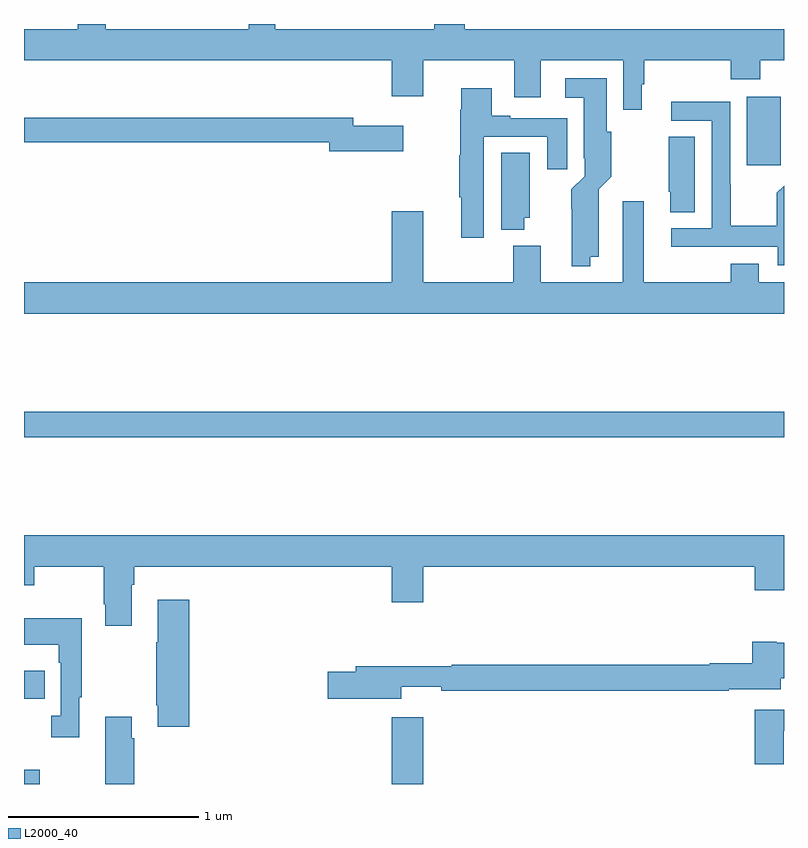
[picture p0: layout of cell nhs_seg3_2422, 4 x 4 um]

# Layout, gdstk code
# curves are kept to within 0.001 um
import gdstk
lib = gdstk.Library(unit=1e-6, precision=1e-09)
def R(c, l, rs):  # rectangles x0, y0, x1, y1
    for r in rs: c.add(gdstk.rectangle(r[:2], r[2:], *l))
def P(c, l, *ps):  # polygons
    for p in ps: c.add(gdstk.Polygon(p, *l))
L2000_40 = (2000, 40)

nhs_seg3_2422 = lib.new_cell('nhs_seg3_2422')
R(nhs_seg3_2422, L2000_40, [(235,738.4,235.083,738.475), (236.936,738.4,237.1,738.751), (235,738.85,235.109,738.997), (235,740.224,239,740.36), (238.805,741.657,238.984,742.018)])
P(nhs_seg3_2422, L2000_40, [(238.252,742.084),(238.264,742.084),(238.264,742.208),(238.72,742.208),(238.72,742.109),(238.875,742.109),(238.875,742.208),(239,742.208),(239,742.372),(237.32,742.372),(237.32,742.4),(237.16,742.4),(237.16,742.372),(236.323,742.372),(236.323,742.4),(236.183,742.4),(236.183,742.372),(235.429,742.372),(235.429,742.4),(235.282,742.4),(235.282,742.372),(235,742.372),(235,742.208),(236.936,742.208),(236.936,742.02),(237.1,742.02),(237.1,742.208),(237.581,742.208),(237.581,742.014),(237.721,742.014),(237.721,742.208),(238.155,742.208),(238.155,741.948),(238.252,741.948)],
  [(237.979,741.176),(238.024,741.176),(238.025,741.53),(238.092,741.597),(238.092,741.834),(238.066,741.834),(238.066,742.114),(237.849,742.114),(237.849,742.013),(237.947,742.013),(237.947,741.694),(237.951,741.694),(237.951,741.6),(237.881,741.53),(237.882,741.125),(237.979,741.125)],
  [(237.421,741.807),(237.755,741.807),(237.755,741.636),(237.859,741.636),(237.859,741.903),(237.559,741.903),(237.559,741.916),(237.463,741.916),(237.463,742.063),(237.302,742.063),(237.302,741.95),(237.295,741.95),(237.295,741.71),(237.29,741.71),(237.29,741.488),(237.302,741.488),(237.302,741.276),(237.421,741.276)],
  [(239,741.548),(238.963,741.511),(238.963,741.337),(238.719,741.337),(238.719,741.56),(238.716,741.56),(238.716,741.99),(238.407,741.99),(238.407,741.891),(238.62,741.891),(238.62,741.324),(238.407,741.324),(238.407,741.228),(238.968,741.228),(238.968,741.131),(239,741.131)],
  [(236.995,741.865),(236.734,741.865),(236.734,741.907),(235,741.907),(235,741.778),(236.606,741.778),(236.606,741.731),(236.995,741.731)],
  [(238.531,741.806),(238.393,741.806),(238.393,741.517),(238.4,741.517),(238.4,741.409),(238.531,741.409)],
  [(237.634,741.381),(237.661,741.381),(237.661,741.722),(237.512,741.722),(237.512,741.317),(237.634,741.317)],
  [(239,741.04),(238.867,741.04),(238.867,741.139),(238.72,741.139),(238.72,741.04),(238.261,741.04),(238.261,741.466),(238.151,741.466),(238.151,741.04),(237.721,741.04),(237.721,741.232),(237.574,741.232),(237.574,741.04),(237.1,741.04),(237.1,741.415),(236.936,741.415),(236.936,741.04),(235,741.04),(235,740.876),(239,740.876)],
  [(235.567,739.448),(235.58,739.448),(235.58,739.544),(236.936,739.544),(236.936,739.356),(237.1,739.356),(237.1,739.544),(238.847,739.544),(238.847,739.42),(239,739.42),(239,739.708),(235,739.708),(235,739.445),(235.053,739.445),(235.053,739.544),(235.42,739.544),(235.42,739.345),(235.427,739.345),(235.427,739.233),(235.567,739.233)],
  [(235.871,739.369),(235.703,739.369),(235.703,739.145),(235.696,739.145),(235.696,738.814),(235.703,738.814),(235.703,738.702),(235.871,738.702)],
  [(235.291,738.857),(235.303,738.857),(235.303,739.273),(235,739.273),(235,739.133),(235.182,739.133),(235.182,739.037),(235.194,739.037),(235.194,738.758),(235.143,738.758),(235.143,738.645),(235.291,738.645)],
  [(236.986,738.911),(237.196,738.911),(237.196,738.892),(238.708,738.892),(238.708,738.899),(238.984,738.899),(238.984,738.956),(239,738.956),(239,739.144),(238.962,739.144),(238.962,739.15),(238.832,739.15),(238.832,739.036),(238.608,739.036),(238.608,739.028),(237.251,739.028),(237.251,739.021),(236.747,739.021),(236.747,738.992),(236.598,738.992),(236.598,738.85),(236.986,738.85)],
  [(238.999,738.681),(239,738.681),(239,738.79),(238.847,738.79),(238.847,738.504),(238.999,738.504)],
  [(235.58,738.641),(235.567,738.641),(235.567,738.754),(235.427,738.754),(235.427,738.4),(235.58,738.4)])

lib.write_gds('nhs_seg3_2422.gds')
